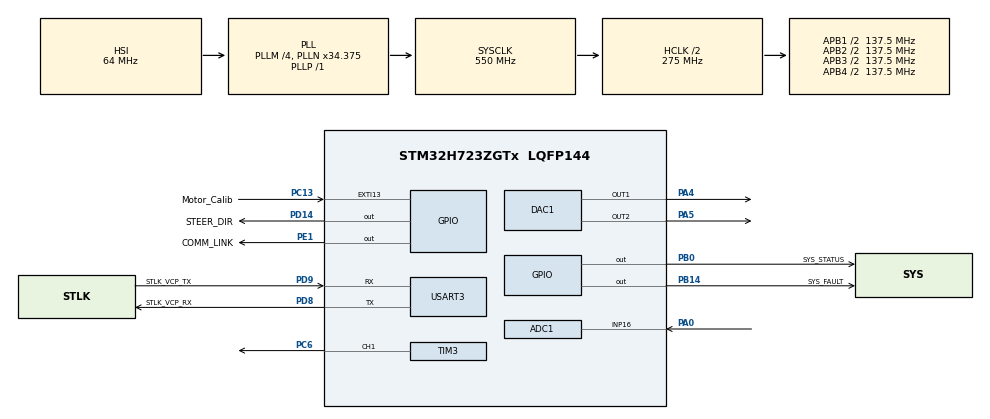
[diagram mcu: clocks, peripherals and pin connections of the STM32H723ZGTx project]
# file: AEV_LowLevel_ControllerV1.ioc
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ADC1.Channel-0\#ChannelRegularConversion=ADC_CHANNEL_16
ADC1.ContinuousConvMode=ENABLE
ADC1.ConversionDataManagement=ADC_CONVERSIONDATA_DMA_CIRCULAR
ADC1.EOCSelection=ADC_EOC_SEQ_CONV
ADC1.NbrOfConversionFlag=1
ADC1.OffsetNumber-0\#ChannelRegularConversion=ADC_OFFSET_NONE
ADC1.OffsetSignedSaturation-0\#ChannelRegularConversion=DISABLE
ADC1.Overrun=ADC_OVR_DATA_OVERWRITTEN
ADC1.Rank-0\#ChannelRegularConversion=1
ADC1.SamplingTime-0\#ChannelRegularConversion=ADC_SAMPLETIME_1CYCLE_5
ADC1.master=1
CORTEX_M7.default_mode_Activation=1
DAC1.DAC_Channel-DAC_OUT1=DAC_CHANNEL_1
DAC1.DAC_Channel-DAC_OUT2=DAC_CHANNEL_2
Dma.ADC1.0.Direction=DMA_PERIPH_TO_MEMORY
Dma.ADC1.0.EventEnable=DISABLE
Dma.ADC1.0.FIFOMode=DMA_FIFOMODE_DISABLE
Dma.ADC1.0.Instance=DMA1_Stream0
Dma.ADC1.0.MemDataAlignment=DMA_MDATAALIGN_HALFWORD
Dma.ADC1.0.MemInc=DMA_MINC_ENABLE
Dma.ADC1.0.Mode=DMA_CIRCULAR
Dma.ADC1.0.PeriphDataAlignment=DMA_PDATAALIGN_HALFWORD
Dma.ADC1.0.PeriphInc=DMA_PINC_DISABLE
Dma.ADC1.0.Polarity=HAL_DMAMUX_REQ_GEN_RISING
Dma.ADC1.0.Priority=DMA_PRIORITY_LOW
Dma.ADC1.0.RequestNumber=1
Dma.ADC1.0.SignalID=NONE
Dma.ADC1.0.SyncEnable=DISABLE
Dma.ADC1.0.SyncPolarity=HAL_DMAMUX_SYNC_NO_EVENT
Dma.ADC1.0.SyncRequestNumber=1
Dma.ADC1.0.SyncSignalID=NONE
Dma.Request0=ADC1
Dma.Request1=USART3_RX
Dma.USART3_RX.1.Direction=DMA_PERIPH_TO_MEMORY
Dma.USART3_RX.1.EventEnable=DISABLE
Dma.USART3_RX.1.FIFOMode=DMA_FIFOMODE_DISABLE
Dma.USART3_RX.1.Instance=DMA1_Stream1
Dma.USART3_RX.1.MemDataAlignment=DMA_MDATAALIGN_BYTE
Dma.USART3_RX.1.MemInc=DMA_MINC_ENABLE
Dma.USART3_RX.1.Mode=DMA_CIRCULAR
Dma.USART3_RX.1.PeriphDataAlignment=DMA_PDATAALIGN_BYTE
Dma.USART3_RX.1.PeriphInc=DMA_PINC_DISABLE
Dma.USART3_RX.1.Polarity=HAL_DMAMUX_REQ_GEN_RISING
Dma.USART3_RX.1.Priority=DMA_PRIORITY_LOW
Dma.USART3_RX.1.RequestNumber=1
Dma.USART3_RX.1.SignalID=NONE
Dma.USART3_RX.1.SyncEnable=DISABLE
Dma.USART3_RX.1.SyncPolarity=HAL_DMAMUX_SYNC_NO_EVENT
Dma.USART3_RX.1.SyncRequestNumber=1
Dma.USART3_RX.1.SyncSignalID=NONE
Mcu.Family=STM32H7
Mcu.Name=STM32H723ZGTx
Mcu.Package=LQFP144
NVIC.DMA1_Stream0_IRQn=true\:0\:0\:false\:false\:true\:false\:true\:true
NVIC.DMA1_Stream1_IRQn=true\:0\:0\:false\:false\:true\:false\:true\:true
NVIC.EXTI15_10_IRQn=true\:0\:0\:false\:false\:true\:true\:true\:true
NVIC.PriorityGroup=NVIC_PRIORITYGROUP_4
NVIC.TIM6_DAC_IRQn=true\:0\:0\:false\:false\:true\:true\:true\:true
NVIC.USART3_IRQn=true\:0\:0\:false\:false\:true\:true\:true\:true
PA0.Mode=IN16-Single-Ended
PA0.Signal=ADC1_INP16
PA13(JTMS/SWDIO).GPIO_Label=SWDIO
PA13(JTMS/SWDIO).Signal=DEBUG_JTMS-SWDIO
PA14(JTCK/SWCLK).GPIO_Label=SWCLK
PA14(JTCK/SWCLK).Signal=DEBUG_JTCK-SWCLK
PA4.Signal=COMP_DAC11_group
PA5.Signal=COMP_DAC12_group
PB0.GPIO_Label=SYS_STATUS
PB0.Signal=GPIO_Output
PB14.GPIO_Label=SYS_FAULT
PB14.Signal=GPIO_Output
PC13.GPIO_Label=Motor_Calib
PC13.GPIO_ModeDefaultEXTI=GPIO_MODE_IT_RISING
PC13.Signal=GPXTI13
PC14-OSC32_IN.Signal=RCC_OSC32_IN
PC15-OSC32_OUT.Signal=RCC_OSC32_OUT
PC6.Signal=S_TIM3_CH1
PD14.GPIO_Label=STEER_DIR
PD14.GPIO_PuPd=GPIO_PULLDOWN
PD14.Signal=GPIO_Output
PD8.GPIO_Label=STLK_VCP_RX
PD8.Mode=Asynchronous
PD8.Signal=USART3_TX
PD9.GPIO_Label=STLK_VCP_TX
PD9.Mode=Asynchronous
PD9.Signal=USART3_RX
PE1.GPIO_Label=COMM_LINK
PE1.Signal=GPIO_Output
PH0-OSC_IN.Mode=HSE-External-Clock-Source
PH0-OSC_IN.Signal=RCC_OSC_IN
ProjectManager.HeapSize=0x200
ProjectManager.StackSize=0x400
ProjectManager.TargetToolchain=STM32CubeIDE
RCC.ADCFreq_Value=96000000
RCC.APB1Freq_Value=137500000
RCC.APB2Freq_Value=137500000
RCC.APB3Freq_Value=137500000
RCC.APB4Freq_Value=137500000
RCC.CortexFreq_Value=550000000
RCC.D1PPRE=RCC_APB3_DIV2
RCC.D2PPRE1=RCC_APB1_DIV2
RCC.D2PPRE2=RCC_APB2_DIV2
RCC.D3PPRE=RCC_APB4_DIV2
RCC.DIVM1=4
RCC.DIVM2=4
RCC.DIVN1=34
RCC.DIVN2=12
RCC.DIVP1=1
RCC.DIVQ1=4
RCC.HCLKFreq_Value=275000000
RCC.HPRE=RCC_HCLK_DIV2
RCC.HSE_VALUE=8000000
RCC.PLL2FRACN=0
RCC.PLLFRACN=3072
RCC.SYSCLKFreq_VALUE=550000000
RCC.SYSCLKSource=RCC_SYSCLKSOURCE_PLLCLK
RCC.USBCLockSelection=RCC_USBCLKSOURCE_HSI48
RCC.USBFreq_Value=48000000
SH.COMP_DAC11_group.0=DAC1_OUT1,DAC_OUT1
SH.COMP_DAC12_group.0=DAC1_OUT2,DAC_OUT2
SH.S_TIM3_CH1.0=TIM3_CH1,PWM Generation1 CH1
TIM3.Channel-PWM\ Generation1\ CH1=TIM_CHANNEL_1
TIM3.Period=13750 - 1
TIM3.Prescaler=0
TIM6.Period=100-1
TIM6.Prescaler=27500 - 1
USART3.VirtualMode-Asynchronous=VM_ASYNC
VP_MEMORYMAP_VS_MEMORYMAP.Mode=CurAppReg
VP_TIM3_VS_ClockSourceINT.Mode=Internal
VP_TIM6_VS_ClockSourceINT.Mode=Enable_Timer
board=NUCLEO-H723ZG

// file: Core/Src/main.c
/* USER CODE BEGIN Header */
/**
  ******************************************************************************
  * @file           : main.c
  * @brief          : Main program body
  ******************************************************************************
  * @attention
  *
  * Copyright (c) 2026 STMicroelectronics.
  * All rights reserved.
  *
  * This software is licensed under terms that can be found in the LICENSE file
  * in the root directory of this software component.
  * If no LICENSE file comes with this software, it is provided AS-IS.
  *
  ******************************************************************************
  */
/* USER CODE END Header */
#include "main.h"
#include "adc.h"
#include "dac.h"
#include "dma.h"
#include "tim.h"
#include "usart.h"
#include "gpio.h"

/* USER CODE BEGIN Includes */

#include "app_main.h"
#include "system_test.h"
#include "protocol.h"

/* USER CODE END Includes */

/* USER CODE BEGIN PV */

// Set this to 1 in the debugger or set to 1 at startup to run the full self-test suite
volatile uint8_t run_system_test = 0;

// Set this to 1 in the debugger to continuously stream 50Hz binary telemetry (for HEX view)
volatile uint8_t stream_telemetry = 0;

/* USER CODE END PV */

void SystemClock_Config(void);
static void MPU_Config(void);

int main(void)
{

  /* MPU Configuration--------------------------------------------------------*/
  MPU_Config();

  /* MCU Configuration--------------------------------------------------------*/

  /* Reset of all peripherals, Initializes the Flash interface and the Systick. */
  HAL_Init();

  /* USER CODE BEGIN Init */
  HAL_Delay(100); // 100ms startup delay: allows power rails and ST-LINK USB bridge to stabilize on cold boot
  /* USER CODE END Init */

  /* Configure the system clock */
  SystemClock_Config();

  /* Initialize all configured peripherals */
  MX_GPIO_Init();
  MX_DMA_Init();
  MX_TIM6_Init();
  MX_DAC1_Init();
  MX_ADC1_Init();
  MX_TIM3_Init();
  MX_USART3_UART_Init();
  /* USER CODE BEGIN 2 */

  App_Init();
  HAL_TIM_Base_Start_IT(&htim6); // Starts the 100Hz hardware timer

  /* USER CODE END 2 */

  /* Infinite loop */
  while (1)
  {

    /* USER CODE BEGIN 3 */

    // Control continuous binary telemetry streaming from Live Expressions
    Comm_EnableTelemetry(stream_telemetry != 0);

    // --- Diagnostic / Self-Test Trigger ---
    // In STM32CubeIDE: set 'run_system_test = 1' to run all checks and print report over UART
    if (run_system_test) {
        run_system_test = 0;
        SystemTest_RunAll();
    }
  }
  /* USER CODE END 3 */
}

void SystemClock_Config(void)
{
  RCC_OscInitTypeDef RCC_OscInitStruct = {0};
  RCC_ClkInitTypeDef RCC_ClkInitStruct = {0};

  /** Supply configuration update enable
  */
  HAL_PWREx_ConfigSupply(PWR_LDO_SUPPLY);

  /** Configure the main internal regulator output voltage
  */
  __HAL_PWR_VOLTAGESCALING_CONFIG(PWR_REGULATOR_VOLTAGE_SCALE0);

  while(!__HAL_PWR_GET_FLAG(PWR_FLAG_VOSRDY)) {}

  /** Initializes the RCC Oscillators according to the specified parameters
  * in the RCC_OscInitTypeDef structure.
  */
  RCC_OscInitStruct.OscillatorType = RCC_OSCILLATORTYPE_HSI;
  RCC_OscInitStruct.HSIState = RCC_HSI_DIV1;
  RCC_OscInitStruct.HSICalibrationValue = 64;
  RCC_OscInitStruct.PLL.PLLState = RCC_PLL_ON;
  RCC_OscInitStruct.PLL.PLLSource = RCC_PLLSOURCE_HSI;
  RCC_OscInitStruct.PLL.PLLM = 4;
  RCC_OscInitStruct.PLL.PLLN = 34;
  RCC_OscInitStruct.PLL.PLLP = 1;
  RCC_OscInitStruct.PLL.PLLQ = 4;
  RCC_OscInitStruct.PLL.PLLR = 2;
  RCC_OscInitStruct.PLL.PLLRGE = RCC_PLL1VCIRANGE_3;
  RCC_OscInitStruct.PLL.PLLVCOSEL = RCC_PLL1VCOWIDE;
  RCC_OscInitStruct.PLL.PLLFRACN = 3072;
  if (HAL_RCC_OscConfig(&RCC_OscInitStruct) != HAL_OK)
  {
    Error_Handler();
  }

  /** Initializes the CPU, AHB and APB buses clocks
  */
  RCC_ClkInitStruct.ClockType = RCC_CLOCKTYPE_HCLK|RCC_CLOCKTYPE_SYSCLK
                              |RCC_CLOCKTYPE_PCLK1|RCC_CLOCKTYPE_PCLK2
                              |RCC_CLOCKTYPE_D3PCLK1|RCC_CLOCKTYPE_D1PCLK1;
  RCC_ClkInitStruct.SYSCLKSource = RCC_SYSCLKSOURCE_PLLCLK;
  RCC_ClkInitStruct.SYSCLKDivider = RCC_SYSCLK_DIV1;
  RCC_ClkInitStruct.AHBCLKDivider = RCC_HCLK_DIV2;
  RCC_ClkInitStruct.APB3CLKDivider = RCC_APB3_DIV2;
  RCC_ClkInitStruct.APB1CLKDivider = RCC_APB1_DIV2;
  RCC_ClkInitStruct.APB2CLKDivider = RCC_APB2_DIV2;
  RCC_ClkInitStruct.APB4CLKDivider = RCC_APB4_DIV2;

  if (HAL_RCC_ClockConfig(&RCC_ClkInitStruct, FLASH_LATENCY_3) != HAL_OK)
  {
    Error_Handler();
  }
}

/* USER CODE BEGIN 4 */

void HAL_TIM_PeriodElapsedCallback(TIM_HandleTypeDef *htim) {
    if (htim->Instance == TIM6) {
        App_Step_100Hz();
    }
}

// Motor_Calib Button (B1 — PC13) — Falling edge = button pressed
// Triggers a full recalibration sequence on the next 100Hz tick.
// Pin label set as "Motor_Calib" in CubeMX → generates Motor_Calib_Pin in main.h
void HAL_GPIO_EXTI_Callback(uint16_t GPIO_Pin) {
    if (GPIO_Pin == Motor_Calib_Pin) {
        App_RequestCalibration();
    }
}

/* USER CODE END 4 */

 /* MPU Configuration */

void MPU_Config(void)
{
  MPU_Region_InitTypeDef MPU_InitStruct = {0};

  /* Disables the MPU */
  HAL_MPU_Disable();

  /** Initializes and configures the Region and the memory to be protected
  */
  MPU_InitStruct.Enable = MPU_REGION_ENABLE;
  MPU_InitStruct.Number = MPU_REGION_NUMBER0;
  MPU_InitStruct.BaseAddress = 0x0;
  MPU_InitStruct.Size = MPU_REGION_SIZE_4GB;
  MPU_InitStruct.SubRegionDisable = 0x87;
  MPU_InitStruct.TypeExtField = MPU_TEX_LEVEL0;
  MPU_InitStruct.AccessPermission = MPU_REGION_NO_ACCESS;
  MPU_InitStruct.DisableExec = MPU_INSTRUCTION_ACCESS_DISABLE;
  MPU_InitStruct.IsShareable = MPU_ACCESS_SHAREABLE;
  MPU_InitStruct.IsCacheable = MPU_ACCESS_NOT_CACHEABLE;
  MPU_InitStruct.IsBufferable = MPU_ACCESS_NOT_BUFFERABLE;

  HAL_MPU_ConfigRegion(&MPU_InitStruct);
  /* Enables the MPU */
  HAL_MPU_Enable(MPU_PRIVILEGED_DEFAULT);

}

void Error_Handler(void)
{
  __disable_irq();
  while (1)
  {
  }
}
